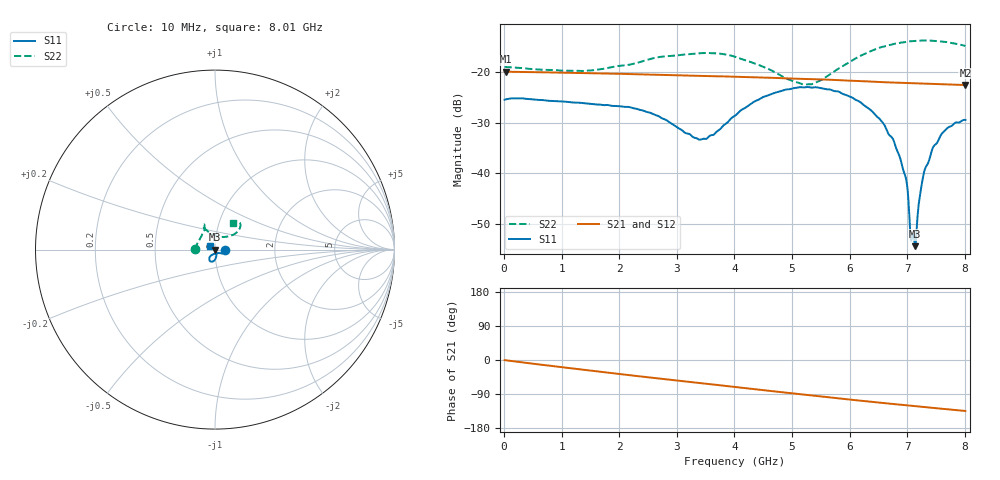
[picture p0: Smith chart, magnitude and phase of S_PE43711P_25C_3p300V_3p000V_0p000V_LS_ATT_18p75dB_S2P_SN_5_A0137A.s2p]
! Device ID: PE43711P
! File Path: z:\PE43711P\CHAR_NOM_04282014\AMB\3p300\LS_ATT_18p75dB\PE43711P_AMB_3p300V_3p000V_0p000V_LS_ATT_18p75dB_S2P_SN_5_A0137A.s2p
! Serial: 5
! Lot: A0137A
! Temp: 25C
! VDD: 3.300
! VSS: 0.000
! Control_Hi: 3.000
! Control_Lo: 0.000
! Attenuation Step: 18.75dB
! Port 1: RF1
! Port 2: RF2
! ThroughPath:1-2
! IDD: 0.0001274084
! ISS: -9.96e-008
#  Hz  S  RI  R  50
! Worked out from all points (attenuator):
!   801 points, 10 MHz to 8.01 GHz, reference 50 ohm
!   highest |S21| = -19.95 dB at 40 MHz (marker M1); lowest = -22.6 dB at 8.01 GHz (marker M2)
!   lowest |S11| = -54.4 dB at 7.14 GHz (marker M3), VSWR 1.00, Z = 49.8 - j0.0218 ohm
!   |S11| at or under -10 dB: start of sweep to end of sweep
!   |S22| runs from -22.5 to -13.8 dB; largest |S21 - S12| = 0.0002
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1e7  0.0532 0.000167  0.1006 -0.00048  0.1007 -0.000491  -0.1125 0.000929
4e7  0.0538 -3.58e-05  0.1006 -0.00143  0.1006 -0.00143  -0.1117 0.00253
1.35e9  0.0457 -0.0187  0.0884 -0.0416  0.0885 -0.0416  -0.0859 0.0553
2.68e9  0.0309 -0.0197  0.0619 -0.0702  0.062 -0.0702  -0.0582 0.1272
3.41e9  0.00555 -0.0208  0.0441 -0.0798  0.0442 -0.0798  -0.0604 0.1407
4.01e9  -0.0198 -0.0313  0.0288 -0.0849  0.0288 -0.085  -0.064 0.1259
4.53e9  -0.0316 -0.0479  0.0152 -0.0866  0.0152 -0.0867  -0.0414 0.1028
5.35e9  -0.022 -0.0665  -0.00541 -0.0846  -0.00539 -0.0847  0.0271 0.0709
6.17e9  0.00304 -0.0509  -0.024 -0.0776  -0.024 -0.0777  0.1118 0.0886
6.54e9  0.00781 -0.0324  -0.0309 -0.0732  -0.031 -0.0733  0.1347 0.1116
6.68e9  0.0067 -0.0232  -0.0333 -0.0715  -0.0332 -0.0716  0.1387 0.1204
6.78e9  0.00647 -0.0188  -0.0349 -0.0702  -0.0349 -0.0703  0.1411 0.1265
6.95e9  0.00267 -0.00968  -0.0376 -0.0681  -0.0376 -0.0682  0.1414 0.136
6.99e9  0.00287 -0.00765  -0.0382 -0.0676  -0.0382 -0.0677  0.1419 0.1378
7.04e9  0.00121 -0.00335  -0.0391 -0.067  -0.039 -0.067  0.1416 0.1416
7.08e9  -0.00125 -0.00191  -0.0397 -0.0665  -0.0397 -0.0665  0.1406 0.1434
7.11e9  -0.00188 -0.00156  -0.0402 -0.0661  -0.0402 -0.0661  0.1401 0.1444
7.14e9  -0.0019 -0.000219  -0.0406 -0.0657  -0.0406 -0.0657  0.1399 0.146
7.27e9  -0.00596 0.00661  -0.0426 -0.0639  -0.0426 -0.064  0.1363 0.1522
7.44e9  -0.0116 0.0133  -0.0451 -0.0614  -0.045 -0.0615  0.1281 0.1573
7.68e9  -0.0195 0.0192  -0.0481 -0.0579  -0.0481 -0.0579  0.1155 0.1598
8.01e9  -0.0258 0.0215  -0.052 -0.053  -0.0521 -0.0528  0.0995 0.1504
